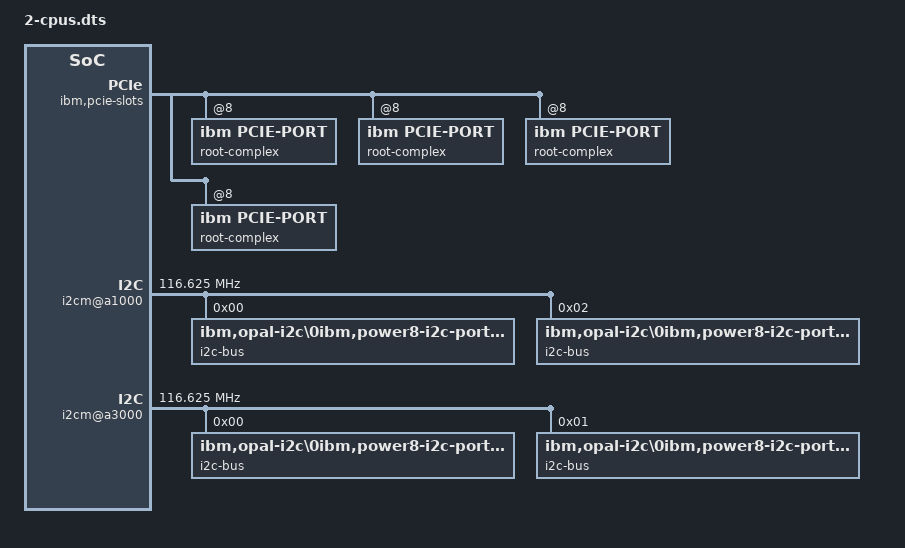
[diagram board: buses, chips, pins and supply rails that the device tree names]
/* SPDX-License-Identifier: GPL-2.0-only */

/* This file adds nodes specific to systems with 2 CPUs */

/dts-v1/;

/include/ "1-cpu.dts"

/ {
	bmc {
		sensors {
			sensor@4 {
				compatible = "ibm,ipmi-sensor";
				ibm,chip-id = <0x08>;
				ipmi-sensor-type = <0x07>;
				reg = <0x04>;
			};

			sensor@7 {
				compatible = "ibm,ipmi-sensor";
				ibm,chip-id = <0x08>;
				ipmi-sensor-type = <0x01>;
				reg = <0x07>;
			};

			sensor@9 {
				compatible = "ibm,ipmi-sensor";
				ibm,chip-id = <0x08>;
				ipmi-sensor-type = <0x07>;
				reg = <0x09>;
			};
		};
	};

	ibm,pcie-slots {
		root-complex@8,0 {
			#address-cells = <0x02>;
			#size-cells = <0x00>;
			compatible = "ibm,pcie-port", "ibm,pcie-root-port";
			ibm,chip-id = <0x08>;
			ibm,slot-label = "SLOT2";
			reg = <0x08 0x00>;

			pluggable {
				ibm,slot-label = "SLOT2";
				lane-mask = <0xffff>;
				max-power = <0x00>;
				mrw-slot-id = <0x02>;
			};
		};

		root-complex@8,3 {
			#address-cells = <0x02>;
			#size-cells = <0x00>;
			compatible = "ibm,pcie-port", "ibm,pcie-root-port";
			ibm,chip-id = <0x08>;
			ibm,slot-label = "SLOT1";
			reg = <0x08 0x03>;

			pluggable {
				ibm,slot-label = "SLOT1";
				lane-mask = <0xff00>;
				max-power = <0x00>;
				mrw-slot-id = <0x01>;
			};
		};

		root-complex@8,4 {
			#address-cells = <0x02>;
			#size-cells = <0x00>;
			compatible = "ibm,pcie-port", "ibm,pcie-root-port";
			ibm,chip-id = <0x08>;
			ibm,slot-label = "SLOT0";
			reg = <0x08 0x04>;

			pluggable {
				ibm,slot-label = "SLOT0";
				lane-mask = <0xf0>;
				max-power = <0x00>;
			};
		};

		root-complex@8,5 {
			#address-cells = <0x02>;
			#size-cells = <0x00>;
			compatible = "ibm,pcie-port", "ibm,pcie-root-port";
			ibm,chip-id = <0x08>;
			lane-mask = <0x0f>;
			reg = <0x08 0x05>;

			switch-up@10b5,8725 {
				#address-cells = <0x01>;
				#size-cells = <0x00>;
				ibm,pluggable;
				reg = <0x10b5 0x8725>;
				upstream-port = <0x01>;

				down-port@4 {
					compatible = "ibm,pcie-port";
					ibm,pluggable;
					ibm,slot-label = "GPU3";
					reg = <0x04>;

					builtin {
						ibm,slot-label = "GPU3";
					};
				};

				down-port@5 {
					compatible = "ibm,pcie-port";
					ibm,pluggable;
					ibm,slot-label = "GPU4";
					reg = <0x05>;

					builtin {
						ibm,slot-label = "GPU4";
					};
				};

				down-port@d {
					compatible = "ibm,pcie-port";
					ibm,pluggable;
					ibm,slot-label = "GPU5";
					reg = <0x0d>;

					builtin {
						ibm,slot-label = "GPU5";
					};
				};
			};
		};
	};

	xscom@623fc00000000 {
		#address-cells = <0x01>;
		#size-cells = <0x01>;
		bus-frequency = <0x00 0x1bce39a0>;
		compatible = "ibm,xscom\0ibm,power9-xscom";
		ibm,chip-id = <0x08>;
		ibm,proc-chip-id = <0x01>;
		reg = <0x623fc 0x00 0x08 0x00>;
		scom-controller;

		chiptod@40000 {
			reg = <0x40000 0x34>;
			compatible = "ibm,power-chiptod\0ibm,power9-chiptod";
			secondary;
		};

		i2cm@a1000 {
			#address-cells = <0x01>;
			#size-cells = <0x00>;
			chip-engine# = <0x01>;
			clock-frequency = <0x6f38e68>;
			compatible = "ibm,power8-i2cm\0ibm,power9-i2cm";
			reg = <0xa1000 0x1000>;

			i2c-bus@0 {
				#address-cells = <0x01>;
				#size-cells = <0x00>;
				bus-frequency = <0xf4240>;
				compatible = "ibm,opal-i2c\0ibm,power8-i2c-port\0ibm,power9-i2c-port";
				reg = <0x00>;

				eeprom@50 {
					compatible = "atmel,24c512";
					label = "module-vpd";
					link-id = <0x10000>;
					reg = <0x50>;
				};
			};

			i2c-bus@2 {
				#address-cells = <0x01>;
				#size-cells = <0x00>;
				bus-frequency = <0xf4240>;
				compatible = "ibm,opal-i2c\0ibm,power8-i2c-port\0ibm,power9-i2c-port";
				reg = <0x02>;

				eeprom@50 {
					compatible = "atmel,24c128";
					label = "module-vpd";
					link-id = <0x1000b>;
					reg = <0x50>;
				};
			};
		};

		i2cm@a3000 {
			#address-cells = <0x01>;
			#size-cells = <0x00>;
			chip-engine# = <0x03>;
			clock-frequency = <0x6f38e68>;
			compatible = "ibm,power8-i2cm\0ibm,power9-i2cm";
			reg = <0xa3000 0x1000>;

			i2c-bus@0 {
				#address-cells = <0x01>;
				#size-cells = <0x00>;
				bus-frequency = <0x61a80>;
				compatible = "ibm,opal-i2c\0ibm,power8-i2c-port\0ibm,power9-i2c-port";
				reg = <0x00>;

				eeprom@50 {
					compatible = "spd";
					label = "dimm-spd";
					link-id = <0x10011>;
					reg = <0x50>;
				};

				eeprom@51 {
					compatible = "spd";
					label = "dimm-spd";
					link-id = <0x10009>;
					reg = <0x51>;
				};

				eeprom@52 {
					compatible = "spd";
					label = "dimm-spd";
					link-id = <0x10001>;
					reg = <0x52>;
				};

				eeprom@53 {
					compatible = "spd";
					label = "dimm-spd";
					link-id = <0x10002>;
					reg = <0x53>;
				};
			};

			i2c-bus@1 {
				#address-cells = <0x01>;
				#size-cells = <0x00>;
				bus-frequency = <0x61a80>;
				compatible = "ibm,opal-i2c\0ibm,power8-i2c-port\0ibm,power9-i2c-port";
				reg = <0x01>;

				eeprom@54 {
					compatible = "spd";
					label = "dimm-spd";
					link-id = <0x1000a>;
					reg = <0x54>;
				};

				eeprom@55 {
					compatible = "spd";
					label = "dimm-spd";
					link-id = <0x1000c>;
					reg = <0x55>;
				};

				eeprom@56 {
					compatible = "spd";
					label = "dimm-spd";
					link-id = <0x1000e>;
					reg = <0x56>;
				};

				eeprom@57 {
					compatible = "spd";
					label = "dimm-spd";
					link-id = <0x1000f>;
					reg = <0x57>;
				};
			};
		};

		nmmu@5012c40 {
			compatible = "ibm,power9-nest-mmu";
			reg = <0x5012c40 0x20>;
		};

		nx@2010000 {
			compatible = "ibm,power9-nx";
			reg = <0x2010000 0x4000>;
		};

		pbcq@4010c00 {
			#address-cells = <0x01>;
			#size-cells = <0x00>;
			compatible = "ibm,power9-pbcq";
			ibm,hub-id = <0x01>;
			ibm,pec-index = <0x00>;
			reg = <0x4010c00 0x100 0xd010800 0x200>;

			stack@0 {
				compatible = "ibm,power9-phb-stack";
				ibm,lane-eq = <0x54545454 0x54545454 0x54545454 0x54545454 0x54545454 0x54545454 0x54545454 0x54545454 0x77777777 0x77777777 0x77777777 0x77777777>;
				ibm,phb-index = <0x00>;
				reg = <0x00>;
				status = "okay";
			};
		};

		pbcq@4011000 {
			#address-cells = <0x01>;
			#size-cells = <0x00>;
			compatible = "ibm,power9-pbcq";
			ibm,hub-id = <0x01>;
			ibm,pec-index = <0x01>;
			reg = <0x4011000 0x100 0xe010800 0x200>;

			stack@0 {
				compatible = "ibm,power9-phb-stack";
				ibm,lane-eq = <0x54545454 0x54545454 0x54545454 0x54545454 0x54545454 0x54545454 0x54545454 0x54545454 0x77777777 0x77777777 0x77777777 0x77777777>;
				ibm,phb-index = <0x01>;
				reg = <0x00>;
				status = "okay";
			};

			stack@1 {
				compatible = "ibm,power9-phb-stack";
				ibm,lane-eq = <0x54545454 0x54545454 0x54545454 0x54545454 0x54545454 0x54545454 0x54545454 0x54545454 0x77777777 0x77777777 0x77777777 0x77777777>;
				ibm,phb-index = <0x02>;
				reg = <0x01>;
				status = "okay";
			};
		};

		pbcq@4011400 {
			#address-cells = <0x01>;
			#size-cells = <0x00>;
			compatible = "ibm,power9-pbcq";
			ibm,hub-id = <0x01>;
			ibm,pec-index = <0x02>;
			reg = <0x4011400 0x100 0xf010800 0x200>;

			stack@0 {
				compatible = "ibm,power9-phb-stack";
				ibm,lane-eq = <0x54545454 0x54545454 0x54545454 0x54545454 0x54545454 0x54545454 0x54545454 0x54545454 0x77777777 0x77777777 0x77777777 0x77777777>;
				ibm,phb-index = <0x03>;
				reg = <0x00>;
				status = "okay";
			};

			stack@1 {
				compatible = "ibm,power9-phb-stack";
				ibm,lane-eq = <0x54545454 0x54545454 0x54545454 0x54545454 0x54545454 0x54545454 0x54545454 0x54545454 0x77777777 0x77777777 0x77777777 0x77777777>;
				ibm,phb-index = <0x04>;
				reg = <0x01>;
				status = "disabled";
			};

			stack@2 {
				compatible = "ibm,power9-phb-stack";
				ibm,lane-eq = <0x54545454 0x54545454 0x54545454 0x54545454 0x54545454 0x54545454 0x54545454 0x54545454 0x77777777 0x77777777 0x77777777 0x77777777>;
				ibm,phb-index = <0x05>;
				reg = <0x02>;
				status = "disabled";
			};
		};

		psihb@5012900 {
			reg = <0x5012900 0x100>;
			compatible = "ibm,power9-psihb-x\0ibm,psihb-x";
		};

		vas@3011800 {
			reg = <0x3011800 0x300>;
			compatible = "ibm,power9-vas-x";
			ibm,vas-id = <0x01>;
		};

		xive@5013000 {
			reg = <0x5013000 0x300>;
			compatible = "ibm,power9-xive-x";
			force-assign-bars;
		};
	};
};
